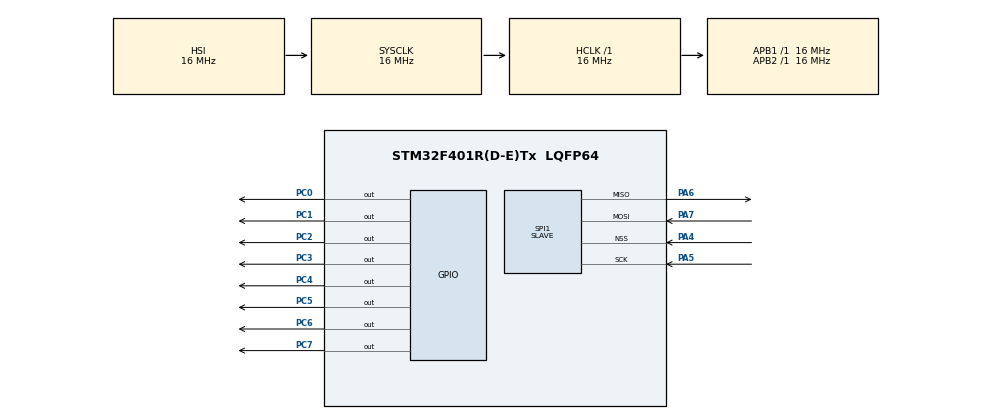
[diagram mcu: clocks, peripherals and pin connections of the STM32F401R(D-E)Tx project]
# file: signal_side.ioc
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Mcu.Family=STM32F4
Mcu.Name=STM32F401R(D-E)Tx
Mcu.Package=LQFP64
NVIC.PriorityGroup=NVIC_PRIORITYGROUP_4
PA4.Mode=NSS_Signal_Hard_Input
PA4.Signal=SPI1_NSS
PA5.Mode=Full_Duplex_Slave
PA5.Signal=SPI1_SCK
PA6.Mode=Full_Duplex_Slave
PA6.Signal=SPI1_MISO
PA7.Mode=Full_Duplex_Slave
PA7.Signal=SPI1_MOSI
PC0.Signal=GPIO_Output
PC1.Signal=GPIO_Output
PC2.Signal=GPIO_Output
PC3.Signal=GPIO_Output
PC4.Signal=GPIO_Output
PC5.Signal=GPIO_Output
PC6.Signal=GPIO_Output
PC7.Signal=GPIO_Output
ProjectManager.HeapSize=0x200
ProjectManager.StackSize=0x400
ProjectManager.TargetToolchain=MDK-ARM V5.32
RCC.AHBFreq_Value=16000000
RCC.APB1Freq_Value=16000000
RCC.APB2Freq_Value=16000000
RCC.CortexFreq_Value=16000000
RCC.HSE_VALUE=25000000
RCC.HSI_VALUE=16000000
RCC.LSE_VALUE=32768
RCC.SYSCLKFreq_VALUE=16000000
RCC.VCOOutputFreq_Value=192000000
SPI1.Direction=SPI_DIRECTION_2LINES
SPI1.Mode=SPI_MODE_SLAVE
SPI1.VirtualNSS=VM_NSSHARD
SPI1.VirtualType=VM_SLAVE
board=custom

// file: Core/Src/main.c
/* USER CODE BEGIN Header */
/**
  ******************************************************************************
  * @file           : main.c
  * @brief          : Main program body
  ******************************************************************************
  * @attention
  *
  * Copyright (c) 2023 STMicroelectronics.
  * All rights reserved.
  *
  * This software is licensed under terms that can be found in the LICENSE file
  * in the root directory of this software component.
  * If no LICENSE file comes with this software, it is provided AS-IS.
  *
  ******************************************************************************
  */
/* USER CODE END Header */
#include "main.h"

 SPI_HandleTypeDef hspi1;

void SystemClock_Config(void);
static void MX_GPIO_Init(void);
static void MX_SPI1_Init(void);

int main(void)
{

  /* MCU Configuration--------------------------------------------------------*/

  /* Reset of all peripherals, Initializes the Flash interface and the Systick. */
  HAL_Init();

  /* Configure the system clock */
  SystemClock_Config();

  /* Initialize all configured peripherals */
  MX_GPIO_Init();
  MX_SPI1_Init();
  /* USER CODE BEGIN 2 */
	uint8_t signal_number = 0;
	uint8_t data = 0;
	uint8_t duration_ms = 0;
	uint8_t freq_Hz = 0;
	uint8_t done = 0;

  /* USER CODE END 2 */

  /* Infinite loop */
  /* USER CODE BEGIN WHILE */
  while (1)
  {
		do{
		HAL_SPI_Receive(&hspi1,&data,sizeof(data),HAL_MAX_DELAY);
		signal_number = data;
		}while(signal_number < 1 || signal_number > 6);

		data = 0;

		HAL_SPI_Receive(&hspi1,&data,sizeof(data),HAL_MAX_DELAY);

		duration_ms = data;
		data = 0;

		HAL_SPI_Receive(&hspi1,&data,sizeof(data),HAL_MAX_DELAY);

		freq_Hz = data;
		// after receiving all the data, find duration and frequency and according to the signal
		// number create the wanted signal
		float real_duration = (((float) duration_ms / 10 + 0.05) * 9500 / 5) + 500;
		float real_freq = (((float) freq_Hz / 10 + 0.05) * 999 / 5) + 1;

		if(signal_number == 1){
			const uint16_t sine_wave_array[512]={128,129,131,132,134,135,137,138,140,142,143,145,146,148,149,151,152,154,155,157,159,160,162,163,165,166,168,169,171,172,173,175,176,178,179,181,182,184,185,186,188,189,190,192,193,195,196,197,198,200,201,202,204,205,206,207,209,210,211,212,213,214,216,217,218,219,220,221,222,223,224,225,226,227,228,229,230,231,232,233,234,235,235,236,237,238,239,239,240,241,242,242,243,244,244,245,245,246,247,247,248,248,249,249,250,250,250,251,251,252,252,252,253,253,253,253,254,254,254,254,254,255,255,255,255,255,255,255,255,255,255,255,255,255,255,254,254,254,254,254,254,253,253,253,252,252,252,251,251,251,250,250,249,249,248,248,247,247,246,246,245,244,244,243,243,242,241,240,240,239,238,237,237,236,235,234,233,232,231,231,230,229,228,227,226,225,224,223,222,221,219,218,217,216,215,214,213,212,210,209,208,207,205,204,203,202,200,199,198,196,195,194,192,191,190,188,187,186,184,183,181,180,179,177,176,174,173,171,170,168,167,165,164,162,161,159,158,156,155,153,152,150,149,147,145,144,142,141,139,138,136,135,133,131,130,128,127,125,124,122,120,119,117,116,114,113,111,110,108,106,105,103,102,100,99,97,96,94,93,91,90,88,87,85,84,82,81,79,78,76,75,74,72,71,69,68,67,65,64,63,61,60,59,57,56,55,53,52,51,50,48,47,46,45,43,42,41,40,39,38,37,36,34,33,32,31,30,29,28,27,26,25,24,24,23,22,21,20,19,18,18,17,16,15,15,14,13,12,12,11,11,10,9,9,8,8,7,7,6,6,5,5,4,4,4,3,3,3,2,2,2,1,1,1,1,1,1,0,0,0,0,0,0,0,0,0,0,0,0,0,0,1,1,1,1,1,2,2,2,2,3,3,3,4,4,5,5,5,6,6,7,7,8,8,9,10,10,11,11,12,13,13,14,15,16,16,17,18,19,20,20,21,22,23,24,25,26,27,28,29,30,31,32,33,34,35,36,37,38,39,41,42,43,44,45,46,48,49,50,51,53,54,55,57,58,59,60,62,63,65,66,67,69,70,71,73,74,76,77,79,80,82,83,84,86,87,89,90,92,93,95,96,98,100,101,103,104,106,107,109,110,112,113,115,117,118,120,121,123,124,126,127};
			float counter=0;

			while (counter < real_duration){
			for(int i =0;i < 512;i++){
				GPIOC->ODR=sine_wave_array[i];
				HAL_Delay((float)3.9 / real_freq);

			}
			counter += 1000 / real_freq;

			}
		}else if(signal_number == 2){
			for(float i = 0; i < real_duration; i+= 1000 / real_freq){
				GPIOC->ODR = 0xFF;
				HAL_Delay((float)500 / real_freq);
				GPIOC->ODR = 0x00;
				HAL_Delay((float)500 / real_freq);
			}

		}else if(signal_number == 3){
			float counter = 0;
			 while(counter < real_duration){
			 for(float i = 0; i < 255/2; i++){

				GPIOC->ODR = i;
				HAL_Delay((float)3.9 / real_freq);
			}

			 for(float i = 255 / 2 ; i >= 0; i--){

				GPIOC->ODR = i;
				HAL_Delay((float)3.9 / real_freq);
			}
			 counter += (1000 / real_freq);
		}

		}else if(signal_number == 4){
			const uint16_t sine_wave_array[512]={128,129,131,132,134,135,137,138,140,142,143,145,146,148,149,151,152,154,155,157,159,160,162,163,165,166,168,169,171,172,173,175,176,178,179,181,182,184,185,186,188,189,190,192,193,195,196,197,198,200,201,202,204,205,206,207,209,210,211,212,213,214,216,217,218,219,220,221,222,223,224,225,226,227,228,229,230,231,232,233,234,235,235,236,237,238,239,239,240,241,242,242,243,244,244,245,245,246,247,247,248,248,249,249,250,250,250,251,251,252,252,252,253,253,253,253,254,254,254,254,254,255,255,255,255,255,255,255,255,255,255,255,255,255,255,254,254,254,254,254,254,253,253,253,252,252,252,251,251,251,250,250,249,249,248,248,247,247,246,246,245,244,244,243,243,242,241,240,240,239,238,237,237,236,235,234,233,232,231,231,230,229,228,227,226,225,224,223,222,221,219,218,217,216,215,214,213,212,210,209,208,207,205,204,203,202,200,199,198,196,195,194,192,191,190,188,187,186,184,183,181,180,179,177,176,174,173,171,170,168,167,165,164,162,161,159,158,156,155,153,152,150,149,147,145,144,142,141,139,138,136,135,133,131,130,128,127,125,124,122,120,119,117,116,114,113,111,110,108,106,105,103,102,100,99,97,96,94,93,91,90,88,87,85,84,82,81,79,78,76,75,74,72,71,69,68,67,65,64,63,61,60,59,57,56,55,53,52,51,50,48,47,46,45,43,42,41,40,39,38,37,36,34,33,32,31,30,29,28,27,26,25,24,24,23,22,21,20,19,18,18,17,16,15,15,14,13,12,12,11,11,10,9,9,8,8,7,7,6,6,5,5,4,4,4,3,3,3,2,2,2,1,1,1,1,1,1,0,0,0,0,0,0,0,0,0,0,0,0,0,0,1,1,1,1,1,2,2,2,2,3,3,3,4,4,5,5,5,6,6,7,7,8,8,9,10,10,11,11,12,13,13,14,15,16,16,17,18,19,20,20,21,22,23,24,25,26,27,28,29,30,31,32,33,34,35,36,37,38,39,41,42,43,44,45,46,48,49,50,51,53,54,55,57,58,59,60,62,63,65,66,67,69,70,71,73,74,76,77,79,80,82,83,84,86,87,89,90,92,93,95,96,98,100,101,103,104,106,107,109,110,112,113,115,117,118,120,121,123,124,126,127};
			float counter=0;

			while (counter < real_duration){
			for(int i =0;i < 256;i++){
				GPIOC->ODR=sine_wave_array[i];
				HAL_Delay((float)3.9 / real_freq);

			}
			counter += 1000 / real_freq;

			}
		}else if(signal_number == 5){
			float counter = 0;
			 while(counter < real_duration){
			 for(float i = 20; i < 255/2; i+=20){
				for(int j = 0; j < 100000; j++){
					GPIOC->ODR = i;

				}
				HAL_Delay((float)3.9 / real_freq);
			}

			 for(float i = 255 / 2 - 20 ; i >= 0; i-=20){
				for(int j = 0; j < 100000; j++){
					GPIOC->ODR = i;

				}
				HAL_Delay((float)3.9 / real_freq);
			}
			 counter += (1000 / real_freq);
		}

		}else if(signal_number == 6){
				float counter = 0;
				int flag = 0;
				 while(counter < real_duration){
					 for(float i = 0; i < 255; i++){

						GPIOC->ODR = i;
						HAL_Delay((float)3.9/real_freq);
					}
					 counter+= (1000 / real_freq);

				}
		}
		done = 1;

		HAL_SPI_Transmit(&hspi1,&done,sizeof(done),HAL_MAX_DELAY);

		signal_number = 0;
		duration_ms = 0;
		freq_Hz = 0;

    /* USER CODE END WHILE */

  }
}

void SystemClock_Config(void)
{
  RCC_OscInitTypeDef RCC_OscInitStruct = {0};
  RCC_ClkInitTypeDef RCC_ClkInitStruct = {0};

  /** Configure the main internal regulator output voltage
  */
  __HAL_RCC_PWR_CLK_ENABLE();
  __HAL_PWR_VOLTAGESCALING_CONFIG(PWR_REGULATOR_VOLTAGE_SCALE2);

  /** Initializes the RCC Oscillators according to the specified parameters
  * in the RCC_OscInitTypeDef structure.
  */
  RCC_OscInitStruct.OscillatorType = RCC_OSCILLATORTYPE_HSI;
  RCC_OscInitStruct.HSIState = RCC_HSI_ON;
  RCC_OscInitStruct.HSICalibrationValue = RCC_HSICALIBRATION_DEFAULT;
  RCC_OscInitStruct.PLL.PLLState = RCC_PLL_NONE;
  if (HAL_RCC_OscConfig(&RCC_OscInitStruct) != HAL_OK)
  {
    Error_Handler();
  }

  /** Initializes the CPU, AHB and APB buses clocks
  */
  RCC_ClkInitStruct.ClockType = RCC_CLOCKTYPE_HCLK|RCC_CLOCKTYPE_SYSCLK
                              |RCC_CLOCKTYPE_PCLK1|RCC_CLOCKTYPE_PCLK2;
  RCC_ClkInitStruct.SYSCLKSource = RCC_SYSCLKSOURCE_HSI;
  RCC_ClkInitStruct.AHBCLKDivider = RCC_SYSCLK_DIV1;
  RCC_ClkInitStruct.APB1CLKDivider = RCC_HCLK_DIV1;
  RCC_ClkInitStruct.APB2CLKDivider = RCC_HCLK_DIV1;

  if (HAL_RCC_ClockConfig(&RCC_ClkInitStruct, FLASH_LATENCY_0) != HAL_OK)
  {
    Error_Handler();
  }
}

static void MX_SPI1_Init(void)
{

  /* SPI1 parameter configuration*/
  hspi1.Instance = SPI1;
  hspi1.Init.Mode = SPI_MODE_SLAVE;
  hspi1.Init.Direction = SPI_DIRECTION_2LINES;
  hspi1.Init.DataSize = SPI_DATASIZE_8BIT;
  hspi1.Init.CLKPolarity = SPI_POLARITY_LOW;
  hspi1.Init.CLKPhase = SPI_PHASE_1EDGE;
  hspi1.Init.NSS = SPI_NSS_HARD_INPUT;
  hspi1.Init.FirstBit = SPI_FIRSTBIT_MSB;
  hspi1.Init.TIMode = SPI_TIMODE_DISABLE;
  hspi1.Init.CRCCalculation = SPI_CRCCALCULATION_DISABLE;
  hspi1.Init.CRCPolynomial = 10;
  if (HAL_SPI_Init(&hspi1) != HAL_OK)
  {
    Error_Handler();
  }

}

static void MX_GPIO_Init(void)
{
  GPIO_InitTypeDef GPIO_InitStruct = {0};

  /* GPIO Ports Clock Enable */
  __HAL_RCC_GPIOC_CLK_ENABLE();
  __HAL_RCC_GPIOA_CLK_ENABLE();

  /*Configure GPIO pin Output Level */
  HAL_GPIO_WritePin(GPIOC, GPIO_PIN_0|GPIO_PIN_1|GPIO_PIN_2|GPIO_PIN_3
                          |GPIO_PIN_4|GPIO_PIN_5|GPIO_PIN_6|GPIO_PIN_7, GPIO_PIN_RESET);

  /*Configure GPIO pins : PC0 PC1 PC2 PC3
                           PC4 PC5 PC6 PC7 */
  GPIO_InitStruct.Pin = GPIO_PIN_0|GPIO_PIN_1|GPIO_PIN_2|GPIO_PIN_3
                          |GPIO_PIN_4|GPIO_PIN_5|GPIO_PIN_6|GPIO_PIN_7;
  GPIO_InitStruct.Mode = GPIO_MODE_OUTPUT_PP;
  GPIO_InitStruct.Pull = GPIO_NOPULL;
  GPIO_InitStruct.Speed = GPIO_SPEED_FREQ_LOW;
  HAL_GPIO_Init(GPIOC, &GPIO_InitStruct);

}

void Error_Handler(void)
{
  __disable_irq();
  while (1)
  {
  }
}
